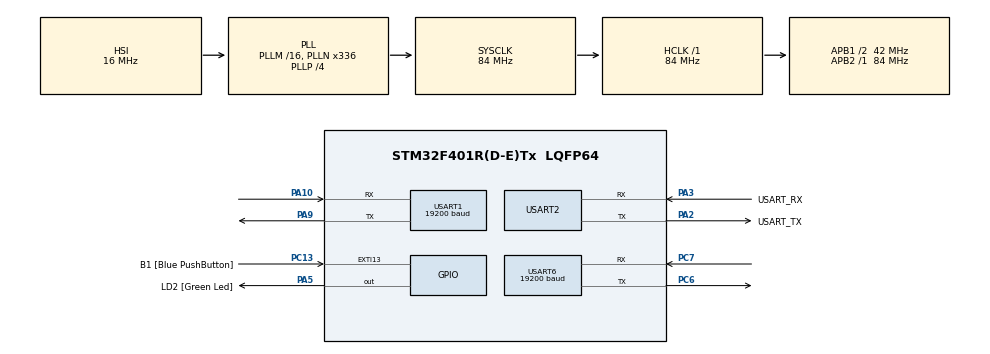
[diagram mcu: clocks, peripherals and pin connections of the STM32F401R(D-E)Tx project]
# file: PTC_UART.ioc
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Mcu.Family=STM32F4
Mcu.Name=STM32F401R(D-E)Tx
Mcu.Package=LQFP64
NVIC.PriorityGroup=NVIC_PRIORITYGROUP_0
NVIC.USART1_IRQn=true\:0\:0\:false\:false\:true\:true\:true\:true
NVIC.USART6_IRQn=true\:0\:0\:false\:false\:true\:true\:true\:true
PA10.Mode=Asynchronous
PA10.Signal=USART1_RX
PA13.GPIO_Label=TMS
PA13.Mode=Serial_Wire
PA13.Signal=SYS_JTMS-SWDIO
PA14.GPIO_Label=TCK
PA14.Mode=Serial_Wire
PA14.Signal=SYS_JTCK-SWCLK
PA2.GPIO_Label=USART_TX
PA2.GPIO_Mode=GPIO_MODE_AF_PP
PA2.GPIO_PuPd=GPIO_NOPULL
PA2.GPIO_Speed=GPIO_SPEED_FREQ_LOW
PA2.Mode=Asynchronous
PA2.Signal=USART2_TX
PA3.GPIO_Label=USART_RX
PA3.GPIO_Mode=GPIO_MODE_AF_PP
PA3.GPIO_PuPd=GPIO_NOPULL
PA3.GPIO_Speed=GPIO_SPEED_FREQ_LOW
PA3.Mode=Asynchronous
PA3.Signal=USART2_RX
PA5.GPIO_Label=LD2 [Green Led]
PA5.GPIO_Mode=GPIO_MODE_OUTPUT_PP
PA5.GPIO_PuPd=GPIO_NOPULL
PA5.GPIO_Speed=GPIO_SPEED_FREQ_LOW
PA5.Signal=GPIO_Output
PA9.Mode=Asynchronous
PA9.Signal=USART1_TX
PB3.GPIO_Label=SWO
PB3.Signal=SYS_JTDO-SWO
PC13-ANTI_TAMP.GPIO_Label=B1 [Blue PushButton]
PC13-ANTI_TAMP.GPIO_ModeDefaultEXTI=GPIO_MODE_IT_FALLING
PC13-ANTI_TAMP.GPIO_PuPd=GPIO_NOPULL
PC13-ANTI_TAMP.Signal=GPXTI13
PC14-OSC32_IN.Mode=LSE-External-Oscillator
PC14-OSC32_IN.Signal=RCC_OSC32_IN
PC15-OSC32_OUT.Mode=LSE-External-Oscillator
PC15-OSC32_OUT.Signal=RCC_OSC32_OUT
PC6.GPIO_ModeDefaultPP=GPIO_MODE_AF_OD
PC6.Mode=Asynchronous
PC6.Signal=USART6_TX
PC7.Mode=Asynchronous
PC7.Signal=USART6_RX
PH0\ -\ OSC_IN.Mode=HSE-External-Clock-Source
PH0\ -\ OSC_IN.Signal=RCC_OSC_IN
PH1\ -\ OSC_OUT.Mode=HSE-External-Clock-Source
PH1\ -\ OSC_OUT.Signal=RCC_OSC_OUT
ProjectManager.HeapSize=0x200
ProjectManager.StackSize=0x400
ProjectManager.TargetToolchain=STM32CubeIDE
RCC.48MHZClocksFreq_Value=48000000
RCC.AHBFreq_Value=84000000
RCC.APB1CLKDivider=RCC_HCLK_DIV2
RCC.APB1Freq_Value=42000000
RCC.APB1TimFreq_Value=84000000
RCC.APB2Freq_Value=84000000
RCC.APB2TimFreq_Value=84000000
RCC.CortexFreq_Value=84000000
RCC.HCLKFreq_Value=84000000
RCC.HSE_VALUE=8000000
RCC.HSI_VALUE=16000000
RCC.PLLN=336
RCC.PLLP=RCC_PLLP_DIV4
RCC.PLLQ=7
RCC.SYSCLKFreq_VALUE=84000000
RCC.SYSCLKSource=RCC_SYSCLKSOURCE_PLLCLK
RCC.VCOOutputFreq_Value=336000000
USART1.BaudRate=19200
USART1.VirtualMode=VM_ASYNC
USART2.VirtualMode=VM_ASYNC
USART6.BaudRate=19200
USART6.VirtualMode=VM_ASYNC
board=NUCLEO-F401RE

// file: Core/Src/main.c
/* USER CODE BEGIN Header */
/**
  ******************************************************************************
  * @file           : main.c
  * @brief          : Main program body
  ******************************************************************************
  * @attention
  *
  * Copyright (c) 2023 STMicroelectronics.
  * All rights reserved.
  *
  * This software is licensed under terms that can be found in the LICENSE file
  * in the root directory of this software component.
  * If no LICENSE file comes with this software, it is provided AS-IS.
  *
  ******************************************************************************
  */
/* USER CODE END Header */
#include "main.h"

/* USER CODE BEGIN Includes */
#include "string.h"

//#include "../UART_comm/handleCmd.h"
/* USER CODE END Includes */

/* USER CODE BEGIN PD */
#define ASCII_ESC "\033"
#define CLEAR_CONSOLE "\033[2J"
/* USER CODE END PD */

UART_HandleTypeDef huart1;
UART_HandleTypeDef huart2;
UART_HandleTypeDef huart6;

/* USER CODE BEGIN PV */
unsigned char received, serializerResp[100];
/* USER CODE END PV */

void SystemClock_Config(void);
static void MX_GPIO_Init(void);
static void MX_USART2_UART_Init(void);
static void MX_USART1_UART_Init(void);
static void MX_USART6_UART_Init(void);

/* USER CODE BEGIN 0 */
void HAL_UART_RxCpltCallback(UART_HandleTypeDef *huart)
{

	if (huart == &huart1){ // commande recue de la PI
		HAL_UART_Transmit(&huart1, &received, 1,HAL_MAX_DELAY);
		HAL_UART_Transmit(&huart1, '\n', 1,HAL_MAX_DELAY);
		if (received == 'z'){
			HAL_UART_Transmit(&huart6, "mogo 1:10 2:10\r",15,HAL_MAX_DELAY);
		}
		else if (received == 'a'){
			HAL_UART_Transmit(&huart6, "mogo 1:0 2:0\r",13,HAL_MAX_DELAY);
		}
		else if (received == 'q'){
			HAL_UART_Transmit(&huart6, "mogo 1:10 2:0\r",14,HAL_MAX_DELAY);
		}
		else if (received == 'd'){
			HAL_UART_Transmit(&huart6, "mogo 1:0 2:10\r",14,HAL_MAX_DELAY);
		}
		else if (received == 's'){
			HAL_UART_Transmit(&huart6, "mogo 1:-10 2:-10\r",17,HAL_MAX_DELAY);
		}
	}
	else if(huart == &huart6){ // commande recue du Serializer
		if (received != '>'){
			HAL_UART_Transmit(&huart1, &received, 1,HAL_MAX_DELAY);
			strcat(serializerResp, received);
			/*
		HAL_UART_Transmit(&huart1,&received, 1,HAL_MAX_DELAY);
			 */
		}
		else{
			//HAL_GPIO_TogglePin(LD2_GPIO_Port, LD2_Pin);
			HAL_UART_Transmit(&huart1, &serializerResp, strlen(serializerResp),HAL_MAX_DELAY);
			HAL_UART_Transmit(&huart1, '\n', 1,HAL_MAX_DELAY);
			serializerResp[0] = '\0';
		}
	}
    HAL_UART_Receive_IT(huart, &received, 1);
}
/* USER CODE END 0 */

int main(void)
{

  /* MCU Configuration--------------------------------------------------------*/

  /* Reset of all peripherals, Initializes the Flash interface and the Systick. */
  HAL_Init();

  /* Configure the system clock */
  SystemClock_Config();

  /* Initialize all configured peripherals */
  MX_GPIO_Init();
  MX_USART2_UART_Init();
  MX_USART1_UART_Init();
  MX_USART6_UART_Init();
  /* USER CODE BEGIN 2 */
  char message [20] = "UART initialized\n";
  HAL_UART_Transmit(&huart1, CLEAR_CONSOLE, strlen(CLEAR_CONSOLE), HAL_MAX_DELAY);
  HAL_UART_Transmit(&huart1, (unsigned char*)message, strlen(message), HAL_MAX_DELAY);

  HAL_UART_Receive_IT(&huart1, &received, 1);
  HAL_UART_Receive_IT(&huart6, &received, 1);

  /* USER CODE END 2 */

  /* Infinite loop */
  while (1)
  {

  }
}

void SystemClock_Config(void)
{
  RCC_OscInitTypeDef RCC_OscInitStruct = {0};
  RCC_ClkInitTypeDef RCC_ClkInitStruct = {0};

  /** Configure the main internal regulator output voltage
  */
  __HAL_RCC_PWR_CLK_ENABLE();
  __HAL_PWR_VOLTAGESCALING_CONFIG(PWR_REGULATOR_VOLTAGE_SCALE2);

  /** Initializes the RCC Oscillators according to the specified parameters
  * in the RCC_OscInitTypeDef structure.
  */
  RCC_OscInitStruct.OscillatorType = RCC_OSCILLATORTYPE_HSI;
  RCC_OscInitStruct.HSIState = RCC_HSI_ON;
  RCC_OscInitStruct.HSICalibrationValue = RCC_HSICALIBRATION_DEFAULT;
  RCC_OscInitStruct.PLL.PLLState = RCC_PLL_ON;
  RCC_OscInitStruct.PLL.PLLSource = RCC_PLLSOURCE_HSI;
  RCC_OscInitStruct.PLL.PLLM = 16;
  RCC_OscInitStruct.PLL.PLLN = 336;
  RCC_OscInitStruct.PLL.PLLP = RCC_PLLP_DIV4;
  RCC_OscInitStruct.PLL.PLLQ = 7;
  if (HAL_RCC_OscConfig(&RCC_OscInitStruct) != HAL_OK)
  {
    Error_Handler();
  }

  /** Initializes the CPU, AHB and APB buses clocks
  */
  RCC_ClkInitStruct.ClockType = RCC_CLOCKTYPE_HCLK|RCC_CLOCKTYPE_SYSCLK
                              |RCC_CLOCKTYPE_PCLK1|RCC_CLOCKTYPE_PCLK2;
  RCC_ClkInitStruct.SYSCLKSource = RCC_SYSCLKSOURCE_PLLCLK;
  RCC_ClkInitStruct.AHBCLKDivider = RCC_SYSCLK_DIV1;
  RCC_ClkInitStruct.APB1CLKDivider = RCC_HCLK_DIV2;
  RCC_ClkInitStruct.APB2CLKDivider = RCC_HCLK_DIV1;

  if (HAL_RCC_ClockConfig(&RCC_ClkInitStruct, FLASH_LATENCY_2) != HAL_OK)
  {
    Error_Handler();
  }
}

static void MX_USART1_UART_Init(void)
{

  huart1.Instance = USART1;
  huart1.Init.BaudRate = 19200;
  huart1.Init.WordLength = UART_WORDLENGTH_8B;
  huart1.Init.StopBits = UART_STOPBITS_1;
  huart1.Init.Parity = UART_PARITY_NONE;
  huart1.Init.Mode = UART_MODE_TX_RX;
  huart1.Init.HwFlowCtl = UART_HWCONTROL_NONE;
  huart1.Init.OverSampling = UART_OVERSAMPLING_16;
  if (HAL_UART_Init(&huart1) != HAL_OK)
  {
    Error_Handler();
  }

}

static void MX_USART2_UART_Init(void)
{

  huart2.Instance = USART2;
  huart2.Init.BaudRate = 115200;
  huart2.Init.WordLength = UART_WORDLENGTH_8B;
  huart2.Init.StopBits = UART_STOPBITS_1;
  huart2.Init.Parity = UART_PARITY_NONE;
  huart2.Init.Mode = UART_MODE_TX_RX;
  huart2.Init.HwFlowCtl = UART_HWCONTROL_NONE;
  huart2.Init.OverSampling = UART_OVERSAMPLING_16;
  if (HAL_UART_Init(&huart2) != HAL_OK)
  {
    Error_Handler();
  }

}

static void MX_USART6_UART_Init(void)
{

  huart6.Instance = USART6;
  huart6.Init.BaudRate = 19200;
  huart6.Init.WordLength = UART_WORDLENGTH_8B;
  huart6.Init.StopBits = UART_STOPBITS_1;
  huart6.Init.Parity = UART_PARITY_NONE;
  huart6.Init.Mode = UART_MODE_TX_RX;
  huart6.Init.HwFlowCtl = UART_HWCONTROL_NONE;
  huart6.Init.OverSampling = UART_OVERSAMPLING_16;
  if (HAL_UART_Init(&huart6) != HAL_OK)
  {
    Error_Handler();
  }

}

static void MX_GPIO_Init(void)
{
  GPIO_InitTypeDef GPIO_InitStruct = {0};

  /* GPIO Ports Clock Enable */
  __HAL_RCC_GPIOC_CLK_ENABLE();
  __HAL_RCC_GPIOH_CLK_ENABLE();
  __HAL_RCC_GPIOA_CLK_ENABLE();
  __HAL_RCC_GPIOB_CLK_ENABLE();

  /*Configure GPIO pin Output Level */
  HAL_GPIO_WritePin(LD2_GPIO_Port, LD2_Pin, GPIO_PIN_RESET);

  /*Configure GPIO pin : B1_Pin */
  GPIO_InitStruct.Pin = B1_Pin;
  GPIO_InitStruct.Mode = GPIO_MODE_IT_FALLING;
  GPIO_InitStruct.Pull = GPIO_NOPULL;
  HAL_GPIO_Init(B1_GPIO_Port, &GPIO_InitStruct);

  /*Configure GPIO pin : LD2_Pin */
  GPIO_InitStruct.Pin = LD2_Pin;
  GPIO_InitStruct.Mode = GPIO_MODE_OUTPUT_PP;
  GPIO_InitStruct.Pull = GPIO_NOPULL;
  GPIO_InitStruct.Speed = GPIO_SPEED_FREQ_LOW;
  HAL_GPIO_Init(LD2_GPIO_Port, &GPIO_InitStruct);

}

void Error_Handler(void)
{
  __disable_irq();
  while (1)
  {
  }
}
